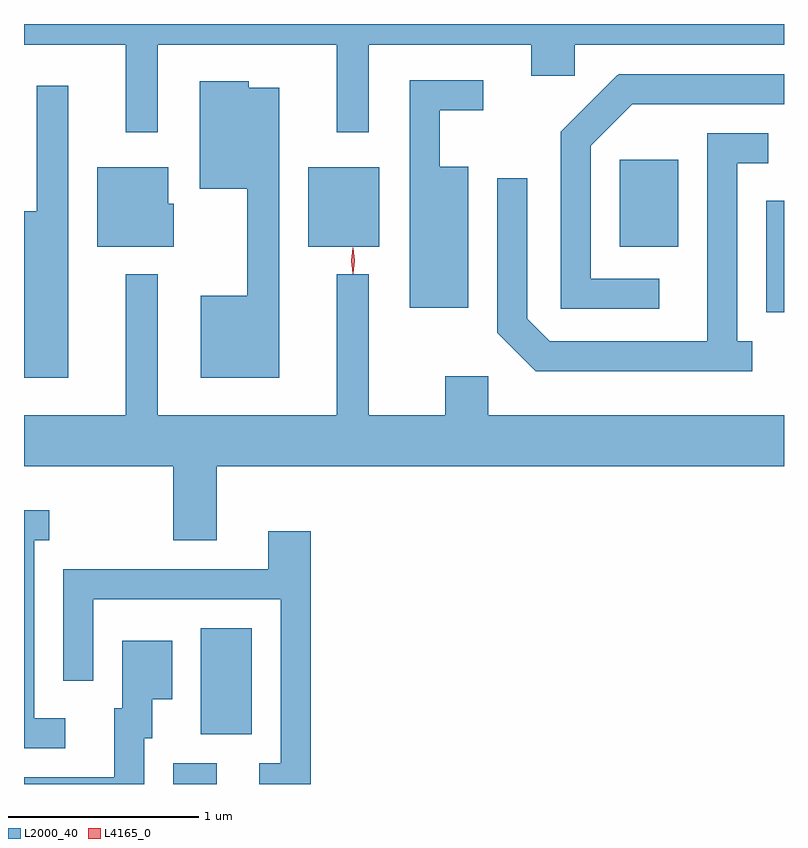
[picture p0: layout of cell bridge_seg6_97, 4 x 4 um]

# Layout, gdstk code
import gdstk
lib = gdstk.Library(unit=1e-6, precision=1e-09)
def R(c, l, rs):  # rectangles x0, y0, x1, y1
    for r in rs: c.add(gdstk.rectangle(r[:2], r[2:], *l))
def P(c, l, *ps):  # polygons
    for p in ps: c.add(gdstk.Polygon(p, *l))
L2000_40 = (2000, 40)
L4165_0 = (4165, 0)

bridge_seg6_97 = lib.new_cell('bridge_seg6_97')
R(bridge_seg6_97, L2000_40, [(1049.501,1628.284,1049.729,1628.394), (1049.646,1628.546,1049.914,1629.104), (1052.621,1630.766,1052.715,1631.353), (1050.211,1631.111,1050.584,1631.529), (1051.851,1631.111,1052.159,1631.569)])
P(bridge_seg6_97, L2000_40, [(1049.419,1632.176),(1050.361,1632.176),(1050.361,1631.713),(1050.529,1631.713),(1050.529,1632.176),(1051.386,1632.176),(1051.386,1632.011),(1051.614,1632.011),(1051.614,1632.176),(1052.715,1632.176),(1052.715,1632.284),(1048.715,1632.284),(1048.715,1632.176),(1049.251,1632.176),(1049.251,1631.713),(1049.419,1631.713)],
  [(1052.058,1630.944),(1051.699,1630.944),(1051.699,1631.644),(1051.917,1631.861),(1052.715,1631.861),(1052.715,1632.019),(1051.844,1632.019),(1051.837,1632.013),(1051.541,1631.717),(1051.541,1630.786),(1052.058,1630.786)],
  [(1051.054,1631.534),(1050.904,1631.534),(1050.904,1631.831),(1051.133,1631.831),(1051.133,1631.989),(1050.746,1631.989),(1050.746,1630.791),(1051.054,1630.791)],
  [(1050.059,1631.949),(1049.899,1631.949),(1049.899,1631.984),(1049.641,1631.984),(1049.641,1631.416),(1049.891,1631.416),(1049.891,1630.854),(1049.646,1630.854),(1049.646,1630.421),(1050.059,1630.421)],
  [(1048.949,1631.958),(1048.781,1631.958),(1048.781,1631.299),(1048.715,1631.299),(1048.715,1630.421),(1048.949,1630.421)],
  [(1052.548,1630.614),(1052.469,1630.614),(1052.469,1631.551),(1052.633,1631.551),(1052.633,1631.709),(1052.311,1631.709),(1052.311,1630.614),(1051.482,1630.614),(1051.364,1630.732),(1051.364,1631.473),(1051.206,1631.473),(1051.206,1630.659),(1051.409,1630.456),(1052.548,1630.456)],
  [(1049.504,1631.339),(1049.474,1631.339),(1049.474,1631.529),(1049.101,1631.529),(1049.101,1631.111),(1049.504,1631.111)],
  [(1049.729,1629.956),(1052.715,1629.956),(1052.715,1630.224),(1051.159,1630.224),(1051.159,1630.429),(1050.931,1630.429),(1050.931,1630.224),(1050.529,1630.224),(1050.529,1630.968),(1050.361,1630.968),(1050.361,1630.224),(1049.419,1630.224),(1049.419,1630.968),(1049.251,1630.968),(1049.251,1630.224),(1048.715,1630.224),(1048.715,1629.956),(1049.501,1629.956),(1049.501,1629.566),(1049.729,1629.566)],
  [(1048.933,1628.629),(1048.769,1628.629),(1048.769,1629.566),(1048.848,1629.566),(1048.848,1629.724),(1048.715,1629.724),(1048.715,1628.471),(1048.933,1628.471)],
  [(1050.224,1629.614),(1050.001,1629.614),(1050.001,1629.414),(1048.921,1629.414),(1048.921,1628.828),(1049.079,1628.828),(1049.079,1629.256),(1050.066,1629.256),(1050.066,1628.394),(1049.953,1628.394),(1049.953,1628.284),(1050.224,1628.284)],
  [(1049.349,1628.526),(1049.389,1628.526),(1049.389,1628.731),(1049.494,1628.731),(1049.494,1629.039),(1049.231,1629.039),(1049.231,1628.684),(1049.191,1628.684),(1049.191,1628.319),(1048.715,1628.319),(1048.715,1628.284),(1049.349,1628.284)])
P(bridge_seg6_97, L4165_0, [(1050.447,1630.969),(1050.446,1630.97),(1050.437,1631.038),(1050.446,1631.106),(1050.447,1631.106),(1050.447,1631.106),(1050.457,1631.038),(1050.447,1630.97)],
  [(1050.447,1630.972),(1050.446,1630.973),(1050.437,1631.037),(1050.446,1631.101),(1050.447,1631.102),(1050.447,1631.101),(1050.457,1631.037),(1050.447,1630.973)])

lib.write_gds('bridge_seg6_97.gds')
